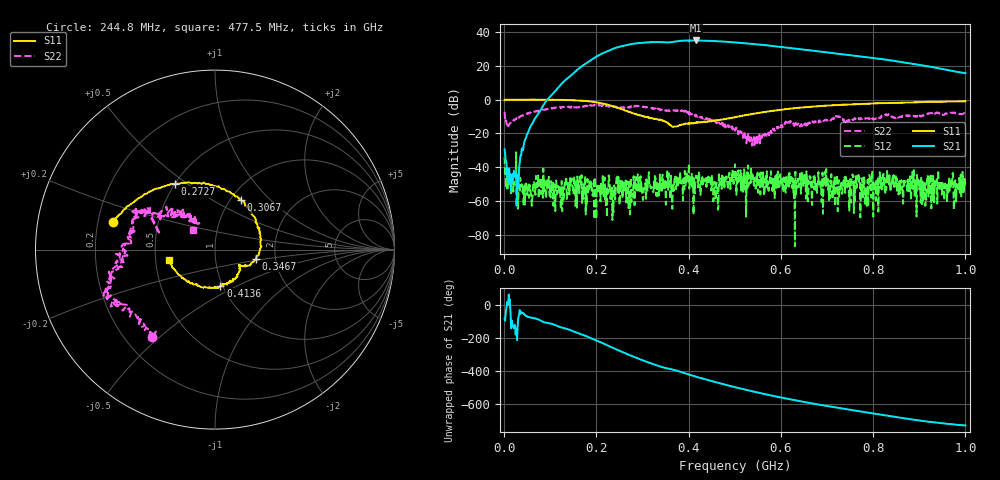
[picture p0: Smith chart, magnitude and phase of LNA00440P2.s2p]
! Created with skrf 1.9.0 (http://scikit-rf.org).
# Hz S RI R 50.0
!freq ReS11 ImS11 ReS21 ImS21 ReS12 ImS12 ReS22 ImS22
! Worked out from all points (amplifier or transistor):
!   1001 points, 1 MHz to 1 GHz, reference 50 ohm
!   highest |S21| = 35.1 dB at 416.6 MHz (marker M1)
!   |S21| within 3 dB of that: 261.3 MHz to 572.8 MHz (311.5 MHz wide, 74.7 % of centre)
!   unconditionally stable (mu >= 1): 8.588 MHz to 52.92 MHz; 218 MHz to 289.7 MHz; 313.8 MHz to end of sweep (the widest 3 of 41)
!   at 166.8 MHz: K = 1.54, MAG = 30.6 dB, |S12| = -50.4 dB
!   at 500.5 MHz: K = 1.06, MAG = 34.7 dB, |S12| = -38.3 dB
!   at 1 GHz: K = 4.37, MAG = 23.4 dB, |S12| = -49.8 dB
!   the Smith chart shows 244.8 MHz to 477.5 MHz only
!   S11 on the Smith chart (normalised r, x): 244.8 MHz: 0.26, +0.13; 272.7 MHz: 0.50, +0.45; 306.7 MHz: 1.12, +0.68; 346.7 MHz: 1.58, -0.17; 413.6 MHz: 0.98, -0.41; 477.5 MHz: 0.59, -0.08
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1000000  0.9831 0.0104  0.00497 -0.0333  -0.00476 0.0197  0.344 0.27
1.08892e8  0.5258 -0.8465  -0.7915 -1.503  -0.00141 0.000457  0.4279 -0.3831
1.67833e8  -0.2197 -0.9123  -9.676 -0.6472  0.00128 0.0057  0.0355 -0.6236
2.11789e8  -0.6823 -0.376  -15.45 17.23  0.00176 -0.0025  -0.2091 -0.6158
2.44756e8  -0.5696 0.156  -0.0411 35.44  -0.00428 -0.00145  -0.3502 -0.4854
2.72728e8  -0.2237 0.3669  24.31 36.35  0.000279 -0.000288  -0.5466 -0.3016
3.06694e8  0.1461 0.2747  47.1 15.31  -0.00139 0.00168  -0.5911 -0.1614
3.34666e8  0.252 0.0417  50.41 -8.401  0.00259 0.00156  -0.5314 -0.048
3.46654e8  0.2291 -0.0507  47.35 -17.08  -0.000321 0.00289  -0.4942 0.0162
3.79621e8  0.1374 -0.1074  40.4 -37.27  0.00181 0.00384  -0.4389 0.2086
4.13587e8  0.0305 -0.2001  16.59 -54.21  0.000356 0.00166  -0.2891 0.197
4.16584e8  0.0135 -0.2119  14.23 -55.16  0.000509 0.00482  -0.2649 0.2037
4.45555e8  -0.1384 -0.1877  -8.107 -54.55  -3.33e-05 0.00504  -0.1545 0.176
4.77523e8  -0.257 -0.0605  -28.34 -44.22  -0.00192 -0.00165  -0.1226 0.1067
5.005e8  -0.2941 0.0728  -37.93 -32.73  0.01 -0.00687  -0.094 0.0743
5.4046e8  -0.2563 0.2859  -43.31 -10.85  0.00357 -0.00195  -0.0518 0.0188
5.88412e8  -0.0771 0.4751  -36.86 10.31  0.00513 -0.00208  -0.1051 -0.0765
6.28372e8  0.1105 0.5488  -26.06 20.09  0.000659 -0.00107  -0.152 -0.1141
6.67333e8  0.3027 0.543  -14.86 24.14  0.000732 -0.000212  -0.2076 -0.051
7.53247e8  0.6189 0.3829  3.188 20.27  -0.00171 -0.00464  -0.2542 -0.00309
8.34166e8  0.7845 0.151  10.49 10.59  -0.00306 -0.000467  -0.3505 -0.00463
1e9  0.8152 -0.3816  5.973 -1.384  0.00117 -0.00301  -0.3249 0.2376
